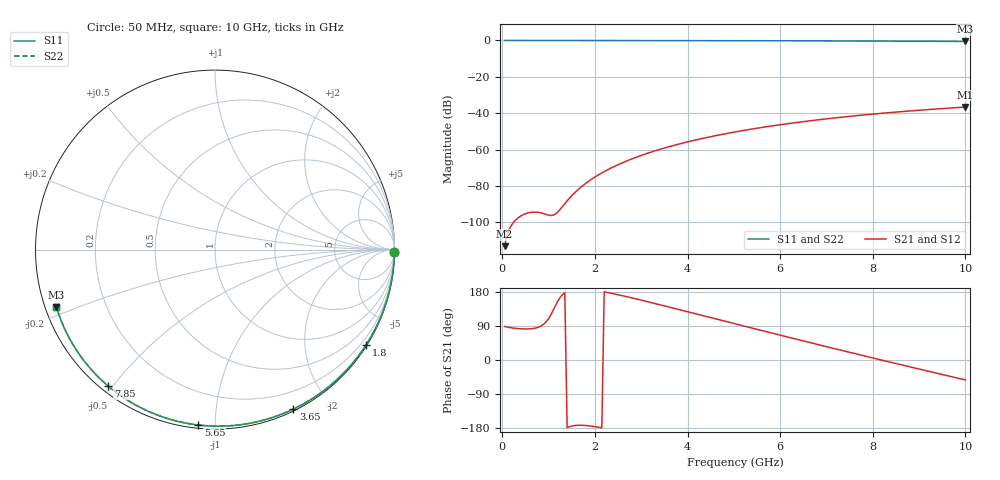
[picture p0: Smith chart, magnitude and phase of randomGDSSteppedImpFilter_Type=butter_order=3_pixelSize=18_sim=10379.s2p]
! freq	dB(S11)	phase(S11)	dB(S12)	phase(S12)
!  dB(S21)	phase(S21)	dB(S22)	phase(S22)
!S-par simulation data
#  GHz  S  DB  R 50
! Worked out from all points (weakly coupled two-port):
!   200 points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, 50 MHz to 10 GHz, reference 50 ohm
!   highest |S21| = -36.60 dB at 10 GHz (marker M1); lowest = -113.0 dB at 50 MHz (marker M2)
!   lowest |S11| = -0.5 dB at 10 GHz (marker M3), VSWR 32.10, Z = 1.61 - j8.78 ohm
!   |S11| at or under -10 dB: nowhere
!   |S22| runs from -0.5 to 0.0 dB; largest |S21 - S12| = 0
!   S11 on the Smith chart (normalised r, x): 50 MHz: open; 1.8 GHz: 0.03, -3.45; 3.65 GHz: 0.02, -1.61; 5.65 GHz: 0.02, -0.91; 7.85 GHz: 0.02, -0.49; 10 GHz: 0.03, -0.18
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0.05  -0.00 -0.9  -113.01 88.5  -113.01 88.5  -0.00 -0.9
0.45  -0.01 -8.2  -95.73 82.1  -95.73 82.1  -0.01 -8.2
0.9  -0.02 -16.3  -95.21 95.0  -95.21 95.0  -0.02 -16.3
1.7  -0.04 -30.6  -80.53 -172.2  -80.53 -172.2  -0.04 -30.6
1.75  -0.04 -31.4  -79.50 -172.4  -79.50 -172.4  -0.04 -31.4
1.8  -0.04 -32.3  -78.52 -172.8  -78.52 -172.8  -0.04 -32.3
2.1  -0.05 -37.6  -73.48 -177.9  -73.48 -177.9  -0.05 -37.6
2.3  -0.05 -41.0  -70.70 177.5  -70.70 177.5  -0.05 -41.0
2.5  -0.06 -44.5  -68.26 172.3  -68.26 172.3  -0.06 -44.5
2.9  -0.07 -51.3  -64.09 160.9  -64.09 160.9  -0.07 -51.3
3.4  -0.08 -59.7  -59.85 146.0  -59.85 146.0  -0.08 -59.7
3.65  -0.09 -63.8  -58.02 138.3  -58.02 138.3  -0.09 -63.8
4.3  -0.11 -74.4  -53.95 118.2  -53.95 118.2  -0.11 -74.4
5.05  -0.13 -86.2  -50.14 94.8  -50.14 94.8  -0.13 -86.2
5.65  -0.16 -95.4  -47.61 76.3  -47.61 76.3  -0.16 -95.4
6.15  -0.19 -103.0  -45.76 61.0  -45.76 61.0  -0.19 -103.0
6.7  -0.22 -111.2  -43.96 44.2  -43.96 44.2  -0.22 -111.2
7.25  -0.26 -119.3  -42.36 27.7  -42.36 27.7  -0.26 -119.3
7.85  -0.30 -128.1  -40.82 9.8  -40.82 9.8  -0.30 -128.1
8.35  -0.35 -135.4  -39.66 -4.9  -39.66 -4.9  -0.35 -135.4
9.2  -0.44 -147.9  -37.95 -29.6  -37.95 -29.6  -0.44 -148.0
10  -0.54 -160.1  -36.60 -52.6  -36.60 -52.6  -0.54 -160.1
